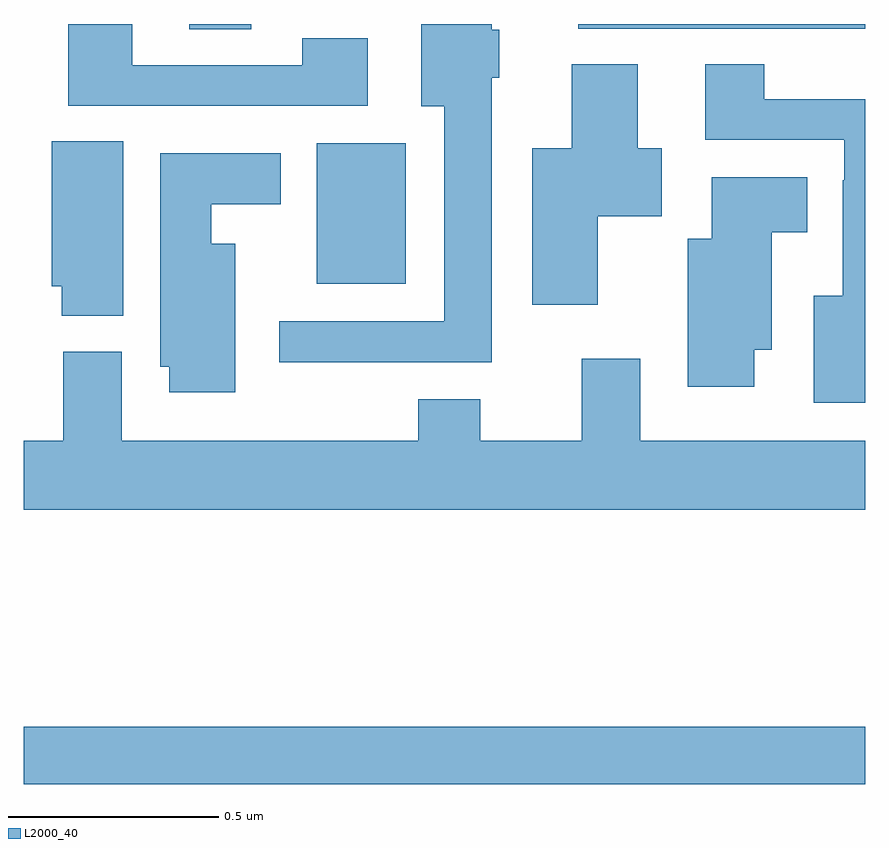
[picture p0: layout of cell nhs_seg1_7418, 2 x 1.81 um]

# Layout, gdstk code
import gdstk
lib = gdstk.Library(unit=1e-6, precision=1e-09)
def R(c, l, rs):  # rectangles x0, y0, x1, y1
    for r in rs: c.add(gdstk.rectangle(r[:2], r[2:], *l))
def P(c, l, *ps):  # polygons
    for p in ps: c.add(gdstk.Polygon(p, *l))
L2000_40 = (2000, 40)

nhs_seg1_7418 = lib.new_cell('nhs_seg1_7418')
R(nhs_seg1_7418, L2000_40, [(203,572.392,205,572.528), (203.696,573.581,203.908,573.916), (203.393,574.186,203.541,574.199), (204.318,574.188,205,574.199)])
P(nhs_seg1_7418, L2000_40, [(204.112,574.071),(204.13,574.071),(204.13,574.185),(204.112,574.185),(204.112,574.199),(203.945,574.199),(203.945,574.004),(203.999,574.004),(203.999,573.492),(203.607,573.492),(203.607,573.395),(204.112,573.395)],
  [(203.818,574.165),(203.662,574.165),(203.662,574.101),(203.257,574.101),(203.257,574.199),(203.105,574.199),(203.105,574.005),(203.818,574.005)],
  [(205,574.02),(204.76,574.02),(204.76,574.103),(204.62,574.103),(204.62,573.924),(204.951,573.924),(204.951,573.827),(204.947,573.827),(204.947,573.553),(204.878,573.553),(204.878,573.299),(205,573.299)],
  [(204.364,573.742),(204.517,573.742),(204.517,573.904),(204.46,573.904),(204.46,574.103),(204.302,574.103),(204.302,573.904),(204.209,573.904),(204.209,573.531),(204.364,573.531)],
  [(203.236,573.92),(203.066,573.92),(203.066,573.576),(203.09,573.576),(203.09,573.505),(203.236,573.505)],
  [(203.503,573.676),(203.446,573.676),(203.446,573.77),(203.611,573.77),(203.611,573.892),(203.324,573.892),(203.324,573.384),(203.345,573.384),(203.345,573.324),(203.503,573.324)],
  [(204.736,573.425),(204.778,573.425),(204.778,573.704),(204.862,573.704),(204.862,573.835),(204.635,573.835),(204.635,573.688),(204.578,573.688),(204.578,573.336),(204.736,573.336)],
  [(205,573.208),(204.466,573.208),(204.466,573.403),(204.326,573.403),(204.326,573.208),(204.085,573.208),(204.085,573.307),(203.938,573.307),(203.938,573.208),(203.233,573.208),(203.233,573.42),(203.093,573.42),(203.093,573.208),(203,573.208),(203,573.044),(205,573.044)])

lib.write_gds('nhs_seg1_7418.gds')
